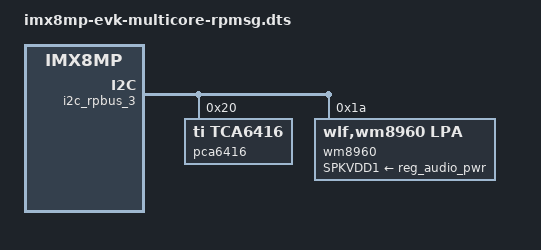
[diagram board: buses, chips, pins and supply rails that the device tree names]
// SPDX-License-Identifier: (GPL-2.0 OR MIT)
/*
 * Copyright 2023 NXP
 */

/dts-v1/;

#include "imx8mp-evk.dts"
#include "imx8mp-rpmsg-ca53.dtsi"
#include "imx8mp-rpmsg-ca53-1.dtsi"

/ {
	aliases {
		i2c0 = &i2c1;
		i2c1 = &i2c2;
		i2c2 = &i2c_rpbus_3;
	};

	reserved-memory {
		#address-cells = <2>;
		#size-cells = <2>;
		ranges;

		/* Reserve 512MB for RTOS running on CA53 */
		ca53_reserved: ca53@c0000000 {
			no-map;
			reg = <0 0xc0000000 0x0 0x20000000>;
		};

		/* Reserve 16MB for RTOS running on CM7 */
		m7_reserved: m7@80000000 {
			no-map;
			reg = <0 0x80000000 0 0x1000000>;
		};

		vdev0vring0: vdev0vring0@55000000 {
			reg = <0 0x55000000 0 0x8000>;
			no-map;
		};

		vdev0vring1: vdev0vring1@55008000 {
			reg = <0 0x55008000 0 0x8000>;
			no-map;
		};

		vdevbuffer: vdevbuffer@55400000 {
			compatible = "shared-dma-pool";
			reg = <0 0x55400000 0 0x100000>;
			no-map;
		};

		rsc_table: rsc-table@550ff000 {
			reg = <0 0x550ff000 0 0x1000>;
			no-map;
		};
	};

	sound-wm8960 {
		status = "disabled";
	};

	imx8mp-cm7 {
		compatible = "fsl,imx8mn-cm7";
		rsc-da = <0x55000000>;
		clocks = <&clk IMX8MP_CLK_M7_DIV>,
			 <&audio_blk_ctrl IMX8MP_CLK_AUDIOMIX_AUDPLL_ROOT>;
		clock-names = "core", "audio";
		mbox-names = "tx", "rx", "rxdb";
		mboxes = <&mu 0 1
			  &mu 1 1
			  &mu 3 1>;
		memory-region = <&vdevbuffer>, <&vdev0vring0>, <&vdev0vring1>, <&rsc_table>;
		status = "okay";
		fsl,startup-delay-ms = <500>;
	};
};

&{/busfreq} {
	/* Disable busfreq to avoid Linux busfreq crash multicore virtio backend */
	status = "disabled";
};

&sai3 {
	status = "disabled";
};

&uart3 {
	status = "disabled";
};

&uart4 {
	status = "disabled";
};

&fec {
	status = "disabled";
};

&eqos {
	/delete-property/ clocks;
	/delete-property/ clock-names;
	clocks = <&clk IMX8MP_CLK_QOS_ENET_ROOT>,
		 <&clk IMX8MP_CLK_ENET_QOS_TIMER>,
		 <&clk IMX8MP_CLK_ENET_QOS>;
	clock-names = "pclk", "ptp_ref", "tx";
};

&clk {
	init-on-array = <IMX8MP_CLK_USDHC3_ROOT
			 IMX8MP_CLK_NAND_USDHC_BUS
			 IMX8MP_CLK_HSIO_ROOT
			 IMX8MP_CLK_UART3_ROOT
			 IMX8MP_CLK_UART4_ROOT>;
};

/delete-node/ &i2c3;

&i2c_rpbus_3 {
	compatible = "fsl,i2c-rpbus";
	#address-cells = <1>;
	#size-cells = <0>;
	status = "okay";

	pca6416: gpio@20 {
		compatible = "ti,tca6416";
		reg = <0x20>;
		gpio-controller;
		#gpio-cells = <2>;
	};

	ov5640_1: ov5640_mipi@3c {
		compatible = "ovti,ov5640";
		reg = <0x3c>;
		pinctrl-names = "default";
		pinctrl-0 = <&pinctrl_csi0_pwn>, <&pinctrl_csi0_rst>;
		clocks = <&clk IMX8MP_CLK_IPP_DO_CLKO2>;
		clock-names = "xclk";
		assigned-clocks = <&clk IMX8MP_CLK_IPP_DO_CLKO2>;
		assigned-clock-parents = <&clk IMX8MP_CLK_24M>;
		assigned-clock-rates = <24000000>;
		csi_id = <0>;
		powerdown-gpios = <&gpio4 1 GPIO_ACTIVE_HIGH>;
		reset-gpios = <&gpio4 0 GPIO_ACTIVE_LOW>;
		mclk = <24000000>;
		mclk_source = <0>;
		mipi_csi;
		status = "disabled";

		port {
			ov5640_mipi_1_ep: endpoint {
				remote-endpoint = <&mipi_csi1_ep>;
				data-lanes = <1 2>;
				clock-lanes = <0>;
			};
		};
	};

	wm8960: codec@1a {
		compatible = "wlf,wm8960,lpa";
		reg = <0x1a>;
		wlf,shared-lrclk;
		SPKVDD1-supply = <&reg_audio_pwr>;
	};
};
